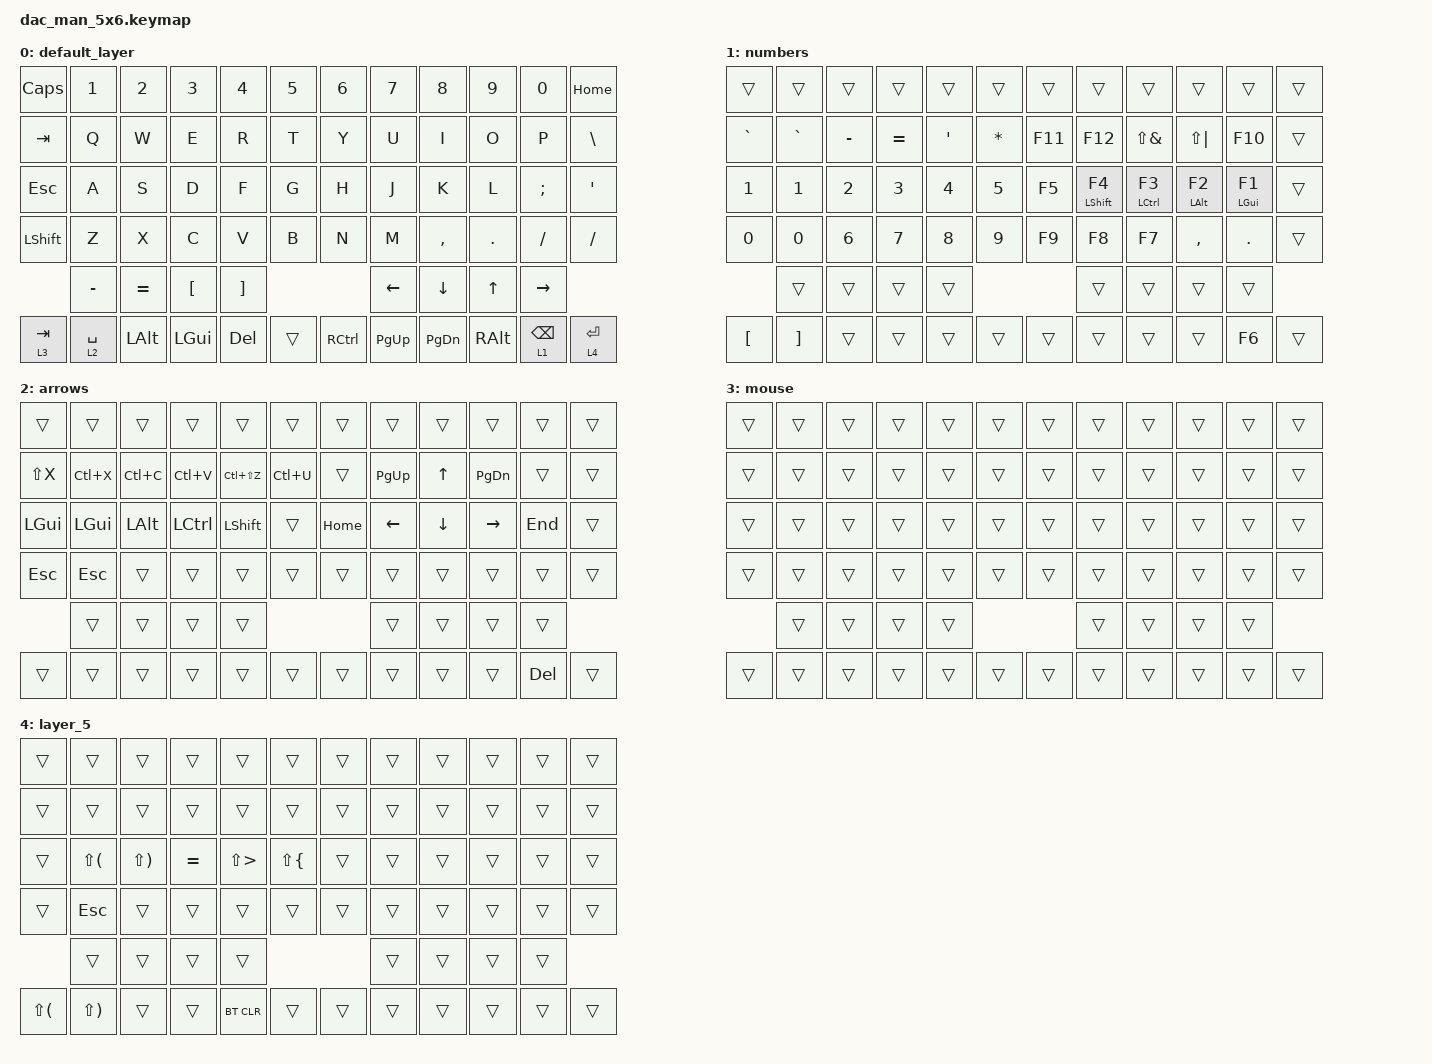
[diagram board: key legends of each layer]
#include <behaviors.dtsi>
#include <dt-bindings/zmk/mouse.h>
#include "mouse.dtsi"
#include <dt-bindings/zmk/bt.h>
#include <dt-bindings/zmk/keys.h>

#define DEFAULT 0
#define RAISE   1
#define LOWER   2

/ {
    keymap {
        compatible = "zmk,keymap";

        default_layer {
            // Commented layout is not actual layout.
            // -------------------------------------------------------------------------------------------------------------------------
            // |   ESC   |    1    |    2    |    3    |    4    |    5    |                   |    6    |    7    |    8    |    9    |    0    |  BSPC   |
            // |   TAB   |    Q    |    W    |    E    |    R    |    T    |                   |    Y    |    U    |    I    |    O    |    P    |    \    |
            // |  LALT   |    A    |    S    |    D    |    F    |    G    |                   |    H    |    J    |    K    |    L    |    ;    |    '    |
            // |  LCTRL  |    Z    |    X    |    C    |    V    |    B    |                   |    N    |    M    |    ,    |    .    |    /    |  RALT   |
            //                     |    [    |    ]    |                                                           |    -    |    =    |
            //                               | MO lay 1| SPACE   |                   | ENTER   | MO lay 2|
            //                                         |   TAB   |   HOME  |   END   |   DEL   |
            //                                         |  Raise  |    ~    |   GUI   |  Lower  |

            bindings = <
&kp CAPS   &kp N1       &kp N2     &kp N3    &kp N4    &kp N5  &kp N6     &kp N7       &kp N8         &kp N9    &kp N0           &kp HOME
&kp TAB    &kp Q        &kp W      &kp E     &kp R     &kp T   &kp Y      &kp U        &kp I          &kp O     &kp P            &kp BSLH
&kp ESC    &kp A        &kp S      &kp D     &kp F     &kp G   &kp H      &kp J        &kp K          &kp L     &kp SEMI         &kp APOS
&kp LSHFT  &kp Z        &kp X      &kp C     &kp V     &kp B   &kp N      &kp M        &kp COMMA      &kp DOT   &kp FSLH         &kp FSLH
           &kp MINUS    &kp EQUAL  &kp LBKT  &kp RBKT                     &kp LEFT     &kp DOWN       &kp UP    &kp RIGHT
&lt 3 TAB  &lt 2 SPACE  &kp LALT   &kp LGUI  &kp DEL   &trans  &kp RCTRL  &kp PAGE_UP  &kp PAGE_DOWN  &kp RALT  &lt 1 BACKSPACE  &lt 4 ENTER
            >;
        };

        numbers {
            bindings = <
&trans     &trans     &trans     &trans     &trans    &trans     &trans   &trans             &trans        &trans           &trans           &trans
&kp GRAVE  &kp GRAVE  &kp MINUS  &kp EQUAL  &kp APOS  &kp ASTRK  &kp F11  &kp F12            &kp LS(AMPS)  &kp LS(PIPE)     &kp F10          &trans
&kp N1     &kp N1     &kp N2     &kp N3     &kp N4    &kp N5     &kp F5   &mt LEFT_SHIFT F4  &mt LCTRL F3  &mt LEFT_ALT F2  &mt LEFT_GUI F1  &trans
&kp N0     &kp N0     &kp N6     &kp N7     &kp N8    &kp N9     &kp F9   &kp F8             &kp F7        &kp COMMA        &kp DOT          &trans
           &trans     &trans     &trans     &trans                        &trans             &trans        &trans           &trans
&kp LBKT   &kp RBKT   &trans     &trans     &trans    &trans     &trans   &trans             &trans        &trans           &kp F6           &trans
            >;
        };

        arrows {
            bindings = <
&trans     &trans     &trans     &trans     &trans         &trans     &trans    &trans     &trans    &trans     &trans   &trans
&kp LS(X)  &kp LC(X)  &kp LC(C)  &kp LC(V)  &kp LC(LS(Z))  &kp LC(U)  &trans    &kp PG_UP  &kp UP    &kp PG_DN  &trans   &trans
&kp LGUI   &kp LGUI   &kp LALT   &kp LCTRL  &kp LSHFT      &trans     &kp HOME  &kp LEFT   &kp DOWN  &kp RIGHT  &kp END  &trans
&kp ESC    &kp ESC    &trans     &trans     &trans         &trans     &trans    &trans     &trans    &trans     &trans   &trans
           &trans     &trans     &trans     &trans                              &trans     &trans    &trans     &trans
&trans     &trans     &trans     &trans     &trans         &trans     &trans    &trans     &trans    &trans     &kp DEL  &trans
            >;
        };

        mouse {
            bindings = <
&trans  &trans  &trans  &trans  &trans  &trans  &trans  &trans  &trans  &trans  &trans  &trans
&trans  &trans  &trans  &trans  &trans  &trans  &trans  &trans  &trans  &trans  &trans  &trans
&trans  &trans  &trans  &trans  &trans  &trans  &trans  &trans  &trans  &trans  &trans  &trans
&trans  &trans  &trans  &trans  &trans  &trans  &trans  &trans  &trans  &trans  &trans  &trans
        &trans  &trans  &trans  &trans                  &trans  &trans  &trans  &trans
&trans  &trans  &trans  &trans  &trans  &trans  &trans  &trans  &trans  &trans  &trans  &trans
            >;
        };

        layer_5 {
            bindings = <
&trans        &trans        &trans        &trans     &trans      &trans        &trans  &trans  &trans  &trans  &trans  &trans
&trans        &trans        &trans        &trans     &trans      &trans        &trans  &trans  &trans  &trans  &trans  &trans
&trans        &kp LS(LPAR)  &kp LS(RPAR)  &kp EQUAL  &kp LS(GT)  &kp LS(LBRC)  &trans  &trans  &trans  &trans  &trans  &trans
&trans        &kp ESC       &trans        &trans     &trans      &trans        &trans  &trans  &trans  &trans  &trans  &trans
              &trans        &trans        &trans     &trans                            &trans  &trans  &trans  &trans
&kp LS(LPAR)  &kp LS(RPAR)  &trans        &trans     &bt BT_CLR  &trans        &trans  &trans  &trans  &trans  &trans  &trans
            >;
        };
    };
};
